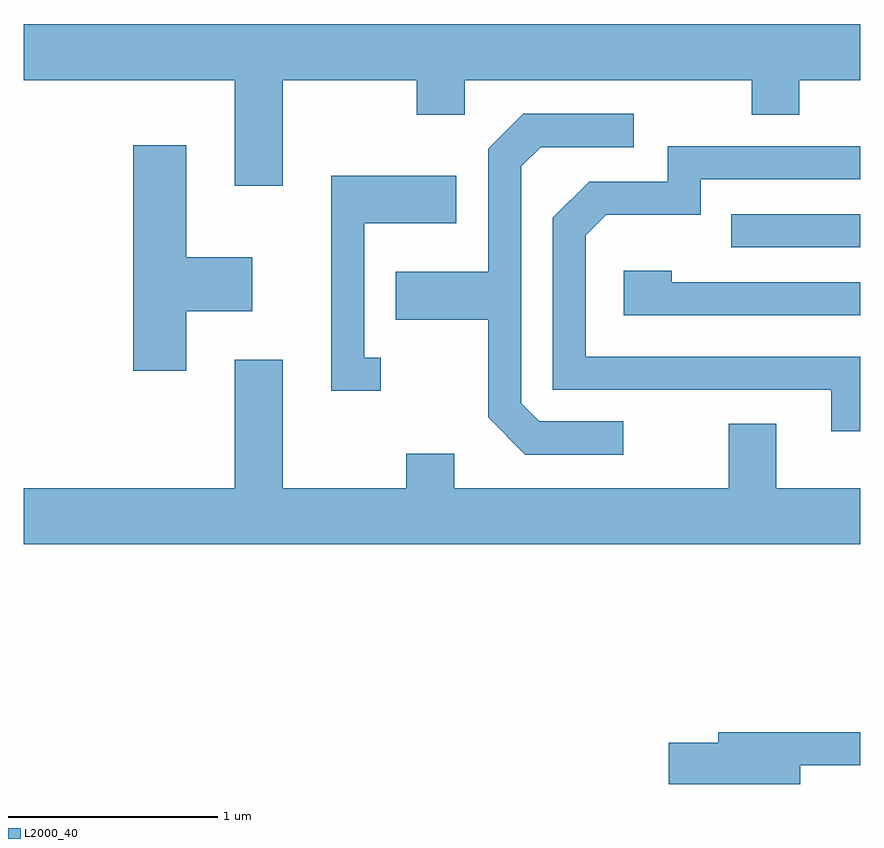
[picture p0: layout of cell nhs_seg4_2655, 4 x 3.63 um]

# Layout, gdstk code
import gdstk
lib = gdstk.Library(unit=1e-6, precision=1e-09)
def R(c, l, rs):  # rectangles x0, y0, x1, y1
    for r in rs: c.add(gdstk.rectangle(r[:2], r[2:], *l))
def P(c, l, *ps):  # polygons
    for p in ps: c.add(gdstk.Polygon(p, *l))
L2000_40 = (2000, 40)

nhs_seg4_2655 = lib.new_cell('nhs_seg4_2655')
R(nhs_seg4_2655, L2000_40, [(266.993,1262.856,267.611,1263.014)])
P(nhs_seg4_2655, L2000_40, [(264.849,1263.656),(265.491,1263.656),(265.491,1263.491),(265.719,1263.491),(265.719,1263.656),(267.091,1263.656),(267.091,1263.491),(267.319,1263.491),(267.319,1263.656),(267.611,1263.656),(267.611,1263.924),(263.611,1263.924),(263.611,1263.656),(264.621,1263.656),(264.621,1263.151),(264.849,1263.151)],
  [(266.478,1262.024),(266.077,1262.024),(265.989,1262.112),(265.989,1263.244),(266.082,1263.336),(266.528,1263.336),(266.528,1263.494),(265.999,1263.494),(265.831,1263.327),(265.831,1262.739),(265.391,1262.739),(265.391,1262.511),(265.831,1262.511),(265.831,1262.044),(266.009,1261.866),(266.478,1261.866)],
  [(264.389,1262.551),(264.704,1262.551),(264.704,1262.809),(264.389,1262.809),(264.389,1263.344),(264.136,1263.344),(264.136,1262.266),(264.389,1262.266)],
  [(267.611,1262.334),(266.299,1262.334),(266.299,1262.914),(266.397,1263.011),(266.849,1263.011),(266.849,1263.181),(267.611,1263.181),(267.611,1263.339),(266.691,1263.339),(266.691,1263.169),(266.314,1263.169),(266.141,1262.997),(266.141,1262.176),(267.471,1262.176),(267.471,1261.978),(267.611,1261.978)],
  [(265.318,1262.329),(265.239,1262.329),(265.239,1262.971),(265.679,1262.971),(265.679,1263.199),(265.081,1263.199),(265.081,1262.171),(265.318,1262.171)],
  [(267.611,1262.689),(266.709,1262.689),(266.709,1262.744),(266.481,1262.744),(266.481,1262.531),(267.611,1262.531)],
  [(267.611,1261.704),(267.209,1261.704),(267.209,1262.014),(266.981,1262.014),(266.981,1261.704),(265.669,1261.704),(265.669,1261.869),(265.441,1261.869),(265.441,1261.704),(264.849,1261.704),(264.849,1262.319),(264.621,1262.319),(264.621,1261.704),(263.611,1261.704),(263.611,1261.436),(267.611,1261.436)],
  [(267.324,1260.381),(267.611,1260.381),(267.611,1260.539),(266.931,1260.539),(266.931,1260.489),(266.696,1260.489),(266.696,1260.291),(267.324,1260.291)])

lib.write_gds('nhs_seg4_2655.gds')
